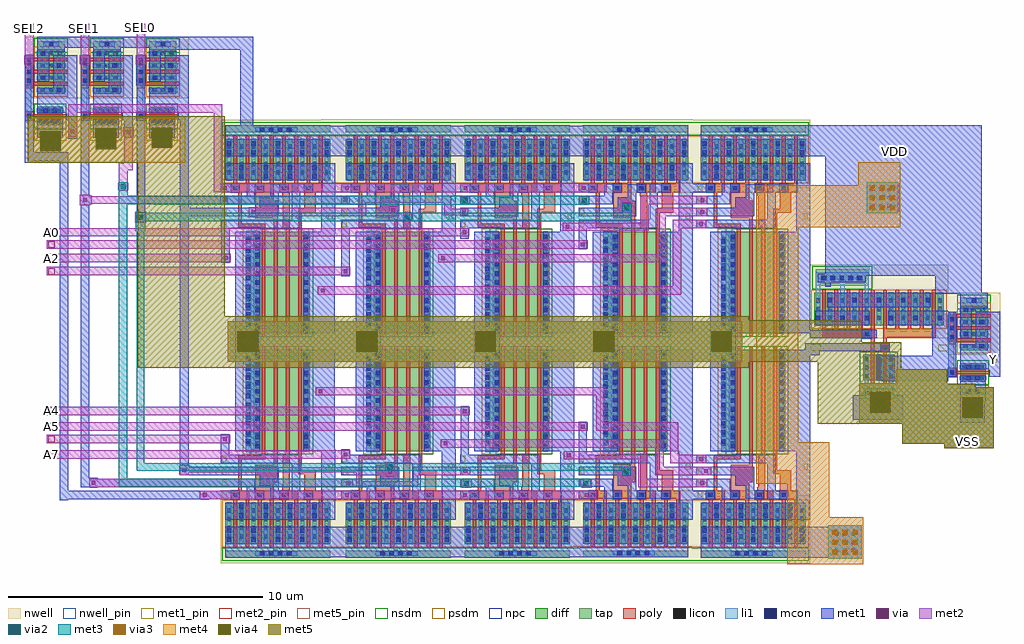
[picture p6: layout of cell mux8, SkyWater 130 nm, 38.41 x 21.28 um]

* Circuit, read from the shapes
.subckt mux8 A0 A1 A2 A3 A4 A5 A6 A7 SEL0 SEL1 SEL2 VDD VSS Y
XM1 NAND4F_0/D SEL2 VSS VSS sky130_fd_pr__nfet_01v8 w=1 l=0.15
XM2 NAND4F_4/C SEL1 VSS VSS sky130_fd_pr__nfet_01v8 w=1 l=0.15
XM3 NAND4F_1/B SEL0 VSS VSS sky130_fd_pr__nfet_01v8 w=1 l=0.15
XM4 n1 SEL2 VSS VSS sky130_fd_pr__nfet_01v8 w=4 l=0.15
XM5 n2 NAND4F_0/D VSS VSS sky130_fd_pr__nfet_01v8 w=4 l=0.15
XM6 n3 SEL1 n1 VSS sky130_fd_pr__nfet_01v8 w=4 l=0.15
XM7 n4 SEL1 n2 VSS sky130_fd_pr__nfet_01v8 w=4 l=0.15
XM8 n5 NAND4F_1/B n3 VSS sky130_fd_pr__nfet_01v8 w=4 l=0.15
XM9 n6 NAND4F_1/B n4 VSS sky130_fd_pr__nfet_01v8 w=4 l=0.15
XM10 NAND4F_9/A A6 n5 VSS sky130_fd_pr__nfet_01v8 w=4 l=0.15
XM11 NAND4F_8/A A2 n6 VSS sky130_fd_pr__nfet_01v8 w=4 l=0.15
XM12 n7 SEL2 VSS VSS sky130_fd_pr__nfet_01v8 w=4 l=0.15
XM13 n8 NAND4F_0/D VSS VSS sky130_fd_pr__nfet_01v8 w=4 l=0.15
XM14 n9 SEL1 n7 VSS sky130_fd_pr__nfet_01v8 w=4 l=0.15
XM15 n10 SEL1 n8 VSS sky130_fd_pr__nfet_01v8 w=4 l=0.15
XM16 n11 SEL0 n9 VSS sky130_fd_pr__nfet_01v8 w=4 l=0.15
XM17 n12 SEL0 n10 VSS sky130_fd_pr__nfet_01v8 w=4 l=0.15
XM18 NAND4F_9/B A7 n11 VSS sky130_fd_pr__nfet_01v8 w=4 l=0.15
XM19 NAND4F_8/B A3 n12 VSS sky130_fd_pr__nfet_01v8 w=4 l=0.15
XM20 n13 SEL2 VSS VSS sky130_fd_pr__nfet_01v8 w=4 l=0.15
XM21 n14 NAND4F_0/D VSS VSS sky130_fd_pr__nfet_01v8 w=4 l=0.15
XM22 n15 NAND4F_4/C n13 VSS sky130_fd_pr__nfet_01v8 w=4 l=0.15
XM23 n16 NAND4F_4/C n14 VSS sky130_fd_pr__nfet_01v8 w=4 l=0.15
XM24 n17 NAND4F_1/B n15 VSS sky130_fd_pr__nfet_01v8 w=4 l=0.15
XM25 n18 NAND4F_1/B n16 VSS sky130_fd_pr__nfet_01v8 w=4 l=0.15
XM26 NAND4F_9/C A4 n17 VSS sky130_fd_pr__nfet_01v8 w=4 l=0.15
XM27 NAND4F_8/C A0 n18 VSS sky130_fd_pr__nfet_01v8 w=4 l=0.15
XM28 n19 SEL2 VSS VSS sky130_fd_pr__nfet_01v8 w=4 l=0.15
XM29 n20 NAND4F_0/D VSS VSS sky130_fd_pr__nfet_01v8 w=4 l=0.15
XM30 n21 NAND4F_4/C n19 VSS sky130_fd_pr__nfet_01v8 w=4 l=0.15
XM31 n22 NAND4F_4/C n20 VSS sky130_fd_pr__nfet_01v8 w=4 l=0.15
XM32 n23 SEL0 n21 VSS sky130_fd_pr__nfet_01v8 w=4 l=0.15
XM33 n24 SEL0 n22 VSS sky130_fd_pr__nfet_01v8 w=4 l=0.15
XM34 NAND4F_9/D A5 n23 VSS sky130_fd_pr__nfet_01v8 w=4 l=0.15
XM35 NAND4F_8/D A1 n24 VSS sky130_fd_pr__nfet_01v8 w=4 l=0.15
XM36 n25 NAND4F_9/D VSS VSS sky130_fd_pr__nfet_01v8 w=4 l=0.15
XM37 n26 NAND4F_8/D VSS VSS sky130_fd_pr__nfet_01v8 w=4 l=0.15
XM38 n27 NAND4F_9/C n25 VSS sky130_fd_pr__nfet_01v8 w=4 l=0.15
XM39 n28 NAND4F_8/C n26 VSS sky130_fd_pr__nfet_01v8 w=4 l=0.15
XM40 n29 NAND4F_9/B n27 VSS sky130_fd_pr__nfet_01v8 w=4 l=0.15
XM41 n30 NAND4F_8/B n28 VSS sky130_fd_pr__nfet_01v8 w=4 l=0.15
XM42 nor2_11/B NAND4F_9/A n29 VSS sky130_fd_pr__nfet_01v8 w=4 l=0.15
XM43 nor2_11/A NAND4F_8/A n30 VSS sky130_fd_pr__nfet_01v8 w=4 l=0.15
XM44 inv_10/A nor2_11/A VSS VSS sky130_fd_pr__nfet_01v8 w=1 l=0.15
XM45 VSS nor2_11/B inv_10/A VSS sky130_fd_pr__nfet_01v8 w=1 l=0.15
XM46 Y inv_10/A VSS VSS sky130_fd_pr__nfet_01v8 w=1 l=0.15
XM47 VDD SEL2 NAND4F_0/D VDD sky130_fd_pr__pfet_01v8 w=1.07 l=0.15 m=3
XM48 VDD SEL1 NAND4F_4/C VDD sky130_fd_pr__pfet_01v8 w=1.07 l=0.15 m=3
XM49 VDD SEL0 NAND4F_1/B VDD sky130_fd_pr__pfet_01v8 w=1.07 l=0.15 m=3
XM50 NAND4F_9/A SEL2 VDD VDD sky130_fd_pr__pfet_01v8 w=1.61 l=0.15 m=2
XM51 NAND4F_8/A NAND4F_0/D VDD VDD sky130_fd_pr__pfet_01v8 w=1.61 l=0.15 m=2
XM52 NAND4F_9/A SEL1 VDD VDD sky130_fd_pr__pfet_01v8 w=1.61 l=0.15 m=2
XM53 NAND4F_8/A SEL1 VDD VDD sky130_fd_pr__pfet_01v8 w=1.61 l=0.15 m=2
XM54 NAND4F_9/A NAND4F_1/B VDD VDD sky130_fd_pr__pfet_01v8 w=1.61 l=0.15 m=2
XM55 NAND4F_8/A NAND4F_1/B VDD VDD sky130_fd_pr__pfet_01v8 w=1.61 l=0.15 m=2
XM56 NAND4F_9/A A6 VDD VDD sky130_fd_pr__pfet_01v8 w=1.61 l=0.15 m=2
XM57 NAND4F_8/A A2 VDD VDD sky130_fd_pr__pfet_01v8 w=1.61 l=0.15 m=2
XM58 NAND4F_9/B SEL2 VDD VDD sky130_fd_pr__pfet_01v8 w=1.61 l=0.15 m=2
XM59 NAND4F_8/B NAND4F_0/D VDD VDD sky130_fd_pr__pfet_01v8 w=1.61 l=0.15 m=2
XM60 NAND4F_9/B SEL1 VDD VDD sky130_fd_pr__pfet_01v8 w=1.61 l=0.15 m=2
XM61 NAND4F_8/B SEL1 VDD VDD sky130_fd_pr__pfet_01v8 w=1.61 l=0.15 m=2
XM62 NAND4F_9/B SEL0 VDD VDD sky130_fd_pr__pfet_01v8 w=1.61 l=0.15 m=2
XM63 NAND4F_8/B SEL0 VDD VDD sky130_fd_pr__pfet_01v8 w=1.61 l=0.15 m=2
XM64 NAND4F_9/B A7 VDD VDD sky130_fd_pr__pfet_01v8 w=1.61 l=0.15 m=2
XM65 NAND4F_8/B A3 VDD VDD sky130_fd_pr__pfet_01v8 w=1.61 l=0.15 m=2
XM66 NAND4F_9/C SEL2 VDD VDD sky130_fd_pr__pfet_01v8 w=1.61 l=0.15 m=2
XM67 NAND4F_8/C NAND4F_0/D VDD VDD sky130_fd_pr__pfet_01v8 w=1.61 l=0.15 m=2
XM68 NAND4F_9/C NAND4F_4/C VDD VDD sky130_fd_pr__pfet_01v8 w=1.61 l=0.15 m=2
XM69 NAND4F_8/C NAND4F_4/C VDD VDD sky130_fd_pr__pfet_01v8 w=1.61 l=0.15 m=2
XM70 NAND4F_9/C NAND4F_1/B VDD VDD sky130_fd_pr__pfet_01v8 w=1.61 l=0.15 m=2
XM71 NAND4F_8/C NAND4F_1/B VDD VDD sky130_fd_pr__pfet_01v8 w=1.61 l=0.15 m=2
XM72 NAND4F_9/C A4 VDD VDD sky130_fd_pr__pfet_01v8 w=1.61 l=0.15 m=2
XM73 NAND4F_8/C A0 VDD VDD sky130_fd_pr__pfet_01v8 w=1.61 l=0.15 m=2
XM74 NAND4F_9/D SEL2 VDD VDD sky130_fd_pr__pfet_01v8 w=1.61 l=0.15 m=2
XM75 NAND4F_8/D NAND4F_0/D VDD VDD sky130_fd_pr__pfet_01v8 w=1.61 l=0.15 m=2
XM76 NAND4F_9/D NAND4F_4/C VDD VDD sky130_fd_pr__pfet_01v8 w=1.61 l=0.15 m=2
XM77 NAND4F_8/D NAND4F_4/C VDD VDD sky130_fd_pr__pfet_01v8 w=1.61 l=0.15 m=2
XM78 NAND4F_9/D SEL0 VDD VDD sky130_fd_pr__pfet_01v8 w=1.61 l=0.15 m=2
XM79 NAND4F_8/D SEL0 VDD VDD sky130_fd_pr__pfet_01v8 w=1.61 l=0.15 m=2
XM80 NAND4F_9/D A5 VDD VDD sky130_fd_pr__pfet_01v8 w=1.61 l=0.15 m=2
XM81 NAND4F_8/D A1 VDD VDD sky130_fd_pr__pfet_01v8 w=1.61 l=0.15 m=2
XM82 nor2_11/B NAND4F_9/D VDD VDD sky130_fd_pr__pfet_01v8 w=1.61 l=0.15 m=2
XM83 nor2_11/A NAND4F_8/D VDD VDD sky130_fd_pr__pfet_01v8 w=1.61 l=0.15 m=2
XM84 nor2_11/B NAND4F_9/C VDD VDD sky130_fd_pr__pfet_01v8 w=1.61 l=0.15 m=2
XM85 nor2_11/A NAND4F_8/C VDD VDD sky130_fd_pr__pfet_01v8 w=1.61 l=0.15 m=2
XM86 nor2_11/B NAND4F_9/B VDD VDD sky130_fd_pr__pfet_01v8 w=1.61 l=0.15 m=2
XM87 nor2_11/A NAND4F_8/B VDD VDD sky130_fd_pr__pfet_01v8 w=1.61 l=0.15 m=2
XM88 nor2_11/B NAND4F_9/A VDD VDD sky130_fd_pr__pfet_01v8 w=1.61 l=0.15 m=2
XM89 nor2_11/A NAND4F_8/A VDD VDD sky130_fd_pr__pfet_01v8 w=1.61 l=0.15 m=2
XM90 n31 nor2_11/A VDD VDD sky130_fd_pr__pfet_01v8 w=1.28 l=0.15 m=5
XM91 inv_10/A nor2_11/B n31 VDD sky130_fd_pr__pfet_01v8 w=1.28 l=0.15 m=5
XM92 VDD inv_10/A Y VDD sky130_fd_pr__pfet_01v8 w=1.07 l=0.15 m=3
.ends

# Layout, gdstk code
from math import pi, radians
import gdstk
lib = gdstk.Library(unit=1e-6, precision=1e-09)
def R(c, l, rs):  # rectangles x0, y0, x1, y1
    for r in rs: c.add(gdstk.rectangle(r[:2], r[2:], *l))
def A(c, l, x, y, w, h, nx, ny, dx, dy):  # array of equal rectangles
    R(c, l, [(x+i*dx, y+j*dy, x+i*dx+w, y+j*dy+h) for i in range(nx) for j in range(ny)])
nwell_pin = (64, 16)
nwell = (64, 20)
diff = (65, 20)
tap = (65, 44)
poly = (66, 20)
licon = (66, 44)
li1 = (67, 20)
mcon = (67, 44)
met1_pin = (68, 16)
met1 = (68, 20)
via = (68, 44)
met2_pin = (69, 16)
met2 = (69, 20)
via2 = (69, 44)
met3 = (70, 20)
via3 = (70, 44)
met4 = (71, 20)
via4 = (71, 44)
met5_pin = (72, 16)
met5 = (72, 20)
nsdm = (93, 44)
psdm = (94, 20)
npc = (95, 20)

pmos4_f2 = lib.new_cell('pmos4_f2')
R(pmos4_f2, nwell, [(-2.245,-1.305,1.765,-1.115), (-2.245,-1.115,2.245,1.115)])
R(pmos4_f2, diff, [(-2.065,-0.805,2.065,0.805)])
A(pmos4_f2, poly, -1.845, -1.29, 0.72, 0.33, 4, 1, 0.96, 0)
A(pmos4_f2, poly, -1.755, -0.96, 0.15, 1.895, 8, 1, 0.48, 0)
A(pmos4_f2, licon, -1.765, -1.21, 0.17, 0.17, 4, 1, 0.96, 0)
A(pmos4_f2, licon, -2.005, -0.595, 0.17, 0.17, 9, 4, 0.48, 0.34)
A(pmos4_f2, li1, -1.845, -1.21, 0.33, 0.17, 4, 1, 0.96, 0)
A(pmos4_f2, li1, -2.005, -0.825, 0.17, 1.65, 5, 1, 0.96, 0)
A(pmos4_f2, li1, -1.525, -0.825, 0.17, 0.055, 4, 1, 0.96, 0)
A(pmos4_f2, li1, -0.565, -0.77, 0.175, 0.56, 3, 1, 0.96, 0)
A(pmos4_f2, li1, -1.525, -0.21, 0.17, 1.035, 4, 1, 0.96, 0)
R(pmos4_f2, li1, [(-1.53,-0.77,-1.355,-0.21)])
A(pmos4_f2, mcon, -1.765, -1.21, 0.17, 0.17, 4, 1, 0.96, 0)
A(pmos4_f2, mcon, -0.565, -0.755, 0.17, 0.17, 3, 2, 0.96, 0.36)
A(pmos4_f2, mcon, -2.005, 0.19, 0.17, 0.17, 5, 2, 0.96, 0.36)
R(pmos4_f2, mcon, [(-1.53,-0.755,-1.36,-0.585), (-1.53,-0.395,-1.36,-0.225)])
A(pmos4_f2, met1, -1.825, -1.24, 0.29, 0.23, 4, 1, 0.96, 0)
R(pmos4_f2, met1, [(-2.065,-0.805,2.065,-0.135), (-2.065,0.135,2.065,0.805)])
R(pmos4_f2, psdm, [(-2.19,-0.93,2.19,0.93)])
A(pmos4_f2, npc, -1.865, -1.31, 0.37, 0.37, 4, 1, 0.96, 0)

efenmos2 = lib.new_cell('efenmos2')
R(efenmos2, diff, [(-1.105,-2,1.105,2)])
A(efenmos2, poly, -0.795, -2.13, 0.15, 4.26, 4, 1, 0.48, 0)
A(efenmos2, licon, -1.045, -1.785, 0.17, 0.17, 1, 11, 0, 0.34)
A(efenmos2, licon, 0.875, -1.785, 0.17, 0.17, 1, 11, 0, 0.34)
R(efenmos2, li1, [(-1.045,-2.02,-0.875,2.02), (0.875,-2.02,1.045,2.02)])
A(efenmos2, mcon, -1.045, -1.885, 0.17, 0.17, 1, 11, 0, 0.36)
A(efenmos2, mcon, 0.875, -1.885, 0.17, 0.17, 1, 11, 0, 0.36)
R(efenmos2, met1, [(-1.075,-2,-0.845,2), (0.845,-2,1.075,2)])
R(efenmos2, nsdm, [(-1.23,-2.125,1.23,2.125)])

nand4f = lib.new_cell('NAND4F')
R(nand4f, nwell_pin, [(2.11,2.33,2.28,2.575)])
R(nand4f, nwell, [(0.225,2.07,4.36,2.22), (0.05,2.22,4.54,2.855)])
R(nand4f, tap, [(1.03,-5.555,1.34,-1.555), (0.23,2.36,4.355,2.445), (0.23,2.445,4.36,2.63)])
R(nand4f, poly, [(2.13,-1.555,2.28,-1.03), (2.61,-1.555,2.76,-1.44), (3.09,-1.555,3.24,-0.805), (2.49,-1.44,2.76,-0.13), (1.65,-1.435,1.8,-1.39), (0.73,-1.39,1.8,-1.24), (0.73,-1.24,0.88,0.21), (1.41,-1.03,2.28,-0.34), (3.09,-0.805,3.78,-0.655), (3.33,-0.655,3.78,-0.005), (1.41,-0.34,2.13,-0.005), (2.46,-0.13,2.76,-0.005), (1.41,-0.005,2.01,0.01), (2.61,-0.005,2.76,0.16), (3.63,-0.005,3.78,0.2), (1.7,0.01,1.85,0.21)])
A(nand4f, licon, 1.03, -5.32, 0.17, 0.17, 1, 5, 0, 0.34)
A(nand4f, licon, 1.03, -3.31, 0.17, 0.17, 1, 5, 0, 0.34)
A(nand4f, licon, 1.61, 2.375, 0.17, 0.17, 4, 1, 0.34, 0)
R(nand4f, li1, [(1.03,-5.575,1.555,-1.52), (1.405,2.375,3.055,2.55)])
A(nand4f, mcon, 1.03, -5.26, 0.17, 0.17, 1, 10, 0, 0.36)
A(nand4f, mcon, 1.58, 2.375, 0.17, 0.17, 4, 1, 0.36, 0)
R(nand4f, met1_pin, [(0.795,-5.475,0.965,-5.23), (0.085,-1.385,0.255,-1.14), (4.275,-1.07,4.445,-0.825), (0.1,-0.885,0.27,-0.64), (0.105,-0.445,0.275,-0.2), (0.11,0.02,0.28,0.265)])
R(nand4f, met1, [(0.61,-5.875,1.605,-1.555), (3.29,-5.555,4.54,-1.63), (3.29,-1.63,4.545,-1.555), (3.995,-1.555,4.545,0.545), (0.05,-1.415,3.175,-1.085), (2.845,-1.085,3.175,-0.005), (0.05,-0.945,2.325,-0.615), (1.585,-0.615,2.325,-0.19), (0.05,-0.475,1.39,-0.145), (1.995,-0.19,2.325,-0.01), (1.06,-0.145,1.39,-0.005), (2.51,-0.015,2.68,-0.01), (1.995,-0.01,2.7,0.32), (0.05,-0.005,0.78,0.325), (1.06,-0.005,1.745,0.325), (2.845,-0.005,3.665,0.325), (4.045,0.545,4.545,1.15), (0.225,2.07,4.36,2.63)])
R(nand4f, nsdm, [(0.105,2.235,4.48,2.32), (0.105,2.32,4.485,2.755)])
R(nand4f, psdm, [(0.905,-5.68,1.465,-1.43)])
nand4f.add(gdstk.Reference(pmos4_f2, (2.295,1.285)))
nand4f.add(gdstk.Reference(efenmos2, (2.445,-3.555)))
nand4f.add(gdstk.Label('A', (0.17,-1.262), layer=68, texttype=16))
nand4f.add(gdstk.Label('B', (0.185,-0.762), layer=68, texttype=16))
nand4f.add(gdstk.Label('C', (0.19,-0.322), layer=68, texttype=16))
nand4f.add(gdstk.Label('D', (0.195,0.142), layer=68, texttype=16))
nand4f.add(gdstk.Label('VSS', (0.88,-5.352), layer=68, texttype=16))
nand4f.add(gdstk.Label('VDD', (2.195,2.452), layer=64, texttype=16))
nand4f.add(gdstk.Label('Y', (4.36,-0.947), layer=68, texttype=16))

sky130_fd_pr__nfet_01v8_ = lib.new_cell('sky130_fd_pr__nfet_01v8_6H9P4D')
R(sky130_fd_pr__nfet_01v8_, diff, [(-0.365,-0.5,0.365,0.5)])
R(sky130_fd_pr__nfet_01v8_, poly, [(-0.075,-0.63,0.075,0.63)])
A(sky130_fd_pr__nfet_01v8_, licon, -0.305, -0.425, 0.17, 0.17, 1, 3, 0, 0.34)
A(sky130_fd_pr__nfet_01v8_, licon, 0.135, -0.425, 0.17, 0.17, 1, 3, 0, 0.34)
R(sky130_fd_pr__nfet_01v8_, li1, [(-0.305,-0.52,-0.135,0.52), (0.135,-0.52,0.305,0.52)])
R(sky130_fd_pr__nfet_01v8_, mcon, [(-0.305,-0.265,-0.135,-0.095), (0.135,-0.265,0.305,-0.095), (-0.305,0.095,-0.135,0.265), (0.135,0.095,0.305,0.265)])
R(sky130_fd_pr__nfet_01v8_, met1, [(-0.335,-0.5,-0.105,0.5), (0.105,-0.5,0.335,0.5)])
R(sky130_fd_pr__nfet_01v8_, nsdm, [(-0.49,-0.625,0.49,0.625)])

efepmos_w107_l15_f3 = lib.new_cell('efepmos_W107-L15-F3')
R(efepmos_w107_l15_f3, nwell, [(-1.045,-1.035,1.045,0.845)])
R(efepmos_w107_l15_f3, diff, [(-0.865,-0.535,0.865,0.535)])
A(efepmos_w107_l15_f3, poly, -0.555, -0.69, 0.15, 1.355, 3, 1, 0.48, 0)
R(efepmos_w107_l15_f3, poly, [(-0.645,-1.02,0.645,-0.69)])
A(efepmos_w107_l15_f3, licon, -0.425, -0.94, 0.17, 0.17, 3, 1, 0.34, 0)
A(efepmos_w107_l15_f3, licon, -0.805, -0.425, 0.17, 0.17, 1, 3, 0, 0.34)
A(efepmos_w107_l15_f3, licon, 0.155, -0.425, 0.17, 0.17, 1, 3, 0, 0.34)
A(efepmos_w107_l15_f3, licon, -0.325, -0.415, 0.17, 0.17, 1, 3, 0, 0.34)
A(efepmos_w107_l15_f3, licon, 0.635, -0.415, 0.17, 0.17, 1, 3, 0, 0.34)
R(efepmos_w107_l15_f3, li1, [(-0.645,-0.94,0.645,-0.77), (-0.805,-0.555,-0.635,0.555), (-0.325,-0.555,-0.155,0.585), (0.155,-0.555,0.325,0.555), (0.635,-0.555,0.805,0.585)])
A(efepmos_w107_l15_f3, mcon, -0.445, -0.94, 0.17, 0.17, 3, 1, 0.36, 0)
R(efepmos_w107_l15_f3, mcon, [(-0.805,-0.395,-0.635,-0.225), (0.155,-0.395,0.325,-0.225), (-0.325,0.215,-0.155,0.385), (0.635,0.215,0.805,0.385)])
R(efepmos_w107_l15_f3, met1, [(-0.645,-1.02,0.645,-0.69), (-1.045,-0.535,0.405,-0.08), (-0.405,0.08,1.045,0.535)])
R(efepmos_w107_l15_f3, psdm, [(-0.99,-0.66,0.99,0.66)])
R(efepmos_w107_l15_f3, npc, [(-0.525,-1.04,0.525,-0.67)])

inv = lib.new_cell('inv')
R(inv, nwell, [(1.88,0,2.06,1.83), (1.63,1.44,1.715,1.45), (1.115,1.45,1.715,1.69), (0.505,1.735,0.52,1.83), (0,1.83,2.06,2.43)])
R(inv, tap, [(0.5,-1.555,1.5,-1.34), (0.5,1.91,1.57,2.24)])
R(inv, poly, [(0.015,-0.87,0.35,-0.78), (0.015,-0.78,0.375,-0.63), (0.015,-0.63,0.35,-0.54)])
R(inv, licon, [(0.73,-1.52,0.9,-1.35), (1.07,-1.52,1.24,-1.35), (0.095,-0.79,0.265,-0.62), (0.955,2.04,1.125,2.21)])
R(inv, li1, [(0.575,-1.52,1.395,-1.35), (0.015,-0.87,0.265,1.695), (0.735,2.04,1.35,2.21)])
R(inv, mcon, [(0.72,-1.52,0.89,-1.35), (1.08,-1.52,1.25,-1.35), (0.095,-0.79,0.265,-0.62), (0.955,2.04,1.125,2.21)])
R(inv, met1, [(0.5,-1.555,1.5,-0.805), (0,-0.875,0.345,0.4), (1.64,-0.875,2.06,-0.57), (0.5,-0.57,2.06,0.41), (0,0.4,0.265,1.69), (1.115,0.41,2.06,1.69), (0.505,1.735,0.52,1.83), (0.5,1.83,1.57,2.43)])
R(inv, nsdm, [(0.375,1.785,1.695,2.365)])
R(inv, psdm, [(0.375,-1.68,1.625,-1.215)])
R(inv, npc, [(-0.005,-0.89,0.365,-0.52)])
inv.add(gdstk.Reference(sky130_fd_pr__nfet_01v8_, (1,-0.705), rotation=3*pi/2))
inv.add(gdstk.Reference(efepmos_w107_l15_f3, (1.035,1.045), rotation=3*pi/2))
inv.add(gdstk.Label('A', (0,0.39), layer=68, texttype=16))
inv.add(gdstk.Label('VSS', (0.99,-1.555), layer=68, texttype=16))
inv.add(gdstk.Label('VDD', (1.05,2.43), layer=68, texttype=16))
inv.add(gdstk.Label('Y', (2.06,0.39), layer=68, texttype=16))

sky130_fd_pr__pfet_01v8_ = lib.new_cell('sky130_fd_pr__pfet_01v8_UFBY79')
R(sky130_fd_pr__pfet_01v8_, nwell, [(-2.725,-1.14,2.725,1.14)])
R(sky130_fd_pr__pfet_01v8_, diff, [(-2.545,-0.64,2.545,0.64)])
A(sky130_fd_pr__pfet_01v8_, poly, -2.235, -0.77, 0.15, 1.54, 10, 1, 0.48, 0)
R(sky130_fd_pr__pfet_01v8_, poly, [(-2.235,-1.125,-0.165,-0.77), (0.165,-1.125,2.235,-0.77)])
A(sky130_fd_pr__pfet_01v8_, licon, -2.485, -0.425, 0.17, 0.17, 11, 3, 0.48, 0.34)
A(sky130_fd_pr__pfet_01v8_, li1, -2.485, -0.66, 0.17, 1.32, 11, 1, 0.48, 0)
A(sky130_fd_pr__pfet_01v8_, mcon, -2.485, -0.44, 0.17, 0.17, 6, 1, 0.96, 0)
A(sky130_fd_pr__pfet_01v8_, mcon, -2.005, 0.27, 0.17, 0.17, 5, 1, 0.96, 0)
A(sky130_fd_pr__pfet_01v8_, met1, -2.515, -0.64, 0.23, 0.57, 6, 1, 0.96, 0)
A(sky130_fd_pr__pfet_01v8_, met1, -2.035, 0.07, 0.23, 0.57, 5, 1, 0.96, 0)
R(sky130_fd_pr__pfet_01v8_, psdm, [(-2.67,-0.765,2.67,0.765)])

c_sky130_fd_pr__nfet_01v8_ = lib.new_cell('sky130_fd_pr__nfet_01v8_LZEQWH')
R(c_sky130_fd_pr__nfet_01v8_, diff, [(-0.625,-0.5,0.625,0.5)])
R(c_sky130_fd_pr__nfet_01v8_, poly, [(-0.315,-0.63,-0.165,0.63), (0.165,-0.63,0.315,0.63)])
A(c_sky130_fd_pr__nfet_01v8_, licon, -0.565, -0.425, 0.17, 0.17, 3, 3, 0.48, 0.34)
A(c_sky130_fd_pr__nfet_01v8_, li1, -0.565, -0.52, 0.17, 1.04, 3, 1, 0.48, 0)
R(c_sky130_fd_pr__nfet_01v8_, mcon, [(-0.085,-0.265,0.085,-0.095), (-0.085,0.095,0.085,0.265)])
R(c_sky130_fd_pr__nfet_01v8_, met1, [(-0.115,-0.5,0.115,0.5)])
R(c_sky130_fd_pr__nfet_01v8_, nsdm, [(-0.75,-0.625,0.75,0.625)])

nor2 = lib.new_cell('nor2')
R(nor2, nwell, [(0.21,1.75,2.43,1.98), (0.005,1.98,5.45,2.295), (0,2.295,5.45,2.9)])
R(nor2, tap, [(2.1,-2.4,3.35,-1.92), (0.23,2.065,2.33,2.72)])
R(nor2, poly, [(2.41,-0.57,2.56,0.03), (2.89,-0.565,3.04,-0.51), (2.8,-0.51,3.13,-0.18), (2.89,-0.18,3.04,0.03), (2.085,0.095,2.415,0.265)])
A(nor2, licon, 2.3, -2.245, 0.17, 0.17, 3, 1, 0.34, 0)
A(nor2, licon, 0.495, 2.295, 0.17, 0.17, 5, 1, 0.34, 0)
R(nor2, licon, [(2.88,-0.43,3.05,-0.26), (2.165,0.095,2.335,0.265)])
A(nor2, li1, 0.24, 1.815, 0.17, 0.345, 3, 1, 0.96, 0)
R(nor2, li1, [(2.1,-2.37,3.35,-1.95), (2.16,-1.95,2.33,-1.67), (3.12,-1.95,3.29,-1.67), (2.8,-0.43,3.13,-0.26), (2.085,0.095,2.415,0.265), (0.23,2.16,2.33,2.61)])
A(nor2, mcon, 2.28, -2.245, 0.17, 0.17, 3, 1, 0.36, 0)
A(nor2, mcon, 0.455, 2.295, 0.17, 0.17, 5, 1, 0.36, 0)
R(nor2, mcon, [(2.88,-0.43,3.05,-0.26), (2.165,0.095,2.335,0.265)])
R(nor2, met1_pin, [(5.06,-0.51,5.445,-0.25), (0.04,-0.48,0.425,-0.22), (0.035,0.05,0.42,0.31)])
R(nor2, met1, [(2.17,-2.34,3.285,-1.97), (2.84,-1.68,5.185,-1.675), (2.84,-1.675,5.44,-1.67), (2.84,-1.67,5.45,-0.68), (4.825,-0.68,5.45,0.515), (0,-0.51,3.13,-0.18), (0,0.015,2.63,0.345), (0.44,0.515,2.13,1.085), (3.32,0.515,5.45,1.085), (0.92,1.225,2.61,1.795), (2.84,1.225,3.57,1.795), (3.8,1.225,4.53,1.795), (0.31,2.22,2.215,2.55)])
R(nor2, nsdm, [(0.105,1.94,2.455,2.845)])
R(nor2, psdm, [(1.975,-2.525,3.475,-1.795)])
R(nor2, npc, [(2.78,-0.53,3.15,-0.16), (2.065,-0.005,2.435,0.365)])
nor2.add(gdstk.Reference(sky130_fd_pr__pfet_01v8_, (2.725,1.155)))
nor2.add(gdstk.Reference(c_sky130_fd_pr__nfet_01v8_, (2.725,-1.15), rotation=pi))
nor2.add(gdstk.Label('A', (0.227,0.18), layer=68, texttype=16))
nor2.add(gdstk.Label('B', (0.232,-0.35), layer=68, texttype=16))
nor2.add(gdstk.Label('VSS', (2.745,-2.34), layer=68, texttype=16))
nor2.add(gdstk.Label('VDD', (1.265,2.55), layer=68, texttype=16))
nor2.add(gdstk.Label('Y', (5.252,-0.38), layer=68, texttype=16))

mux8 = lib.new_cell('mux8')
R(mux8, nwell, [(-1.49,-4.52,17.31,-1.645), (-1.49,-1.645,17.08,-1.64), (2.465,10.065,17.35,12.945), (2.465,12.945,17.08,12.95), (-9.215,13.785,-2.75,16.215)])
R(mux8, met1_pin, [(28.795,3.365,29.055,3.625), (24.885,11.565,25.145,11.825)])
A(mux8, met1, -9.21, 15.1, 0.345, 0.405, 3, 1, 2.2, 0)
R(mux8, met1, [(22.415,-4.35,23.735,-4.295), (21.29,-4.295,23.735,-3.085), (-1.315,-4.285,16.895,-3.08), (22.415,-3.085,23.735,-3.03), (-7.84,-2.04,-7.495,-1.99), (-7.84,-1.99,-1.145,-1.66), (16.865,-1.99,17.55,-1.66), (3.315,-1.965,3.64,-1.705), (7.96,-1.965,8.285,-1.705), (12.755,-1.965,13.08,-1.705), (-7.84,-1.66,-7.495,11.305), (-7.005,-1.52,-1.16,-1.51), (8.005,-1.52,8.335,-1.19), (17.295,-1.52,17.625,-1.19), (12.685,-1.515,13.015,-1.185), (-7.01,-1.51,-1.16,-1.19), (3.395,-1.495,3.655,-1.235), (-7.01,-1.19,-6.665,9.58), (5.005,-1.075,5.325,-0.755), (14.32,-1.055,14.62,-0.755), (-3.1,-1.05,-1.16,-1.02), (7.965,-1.05,8.295,-0.72), (17.41,-1.05,17.795,-0.72), (-3.13,-1.02,-1.16,-0.72), (-3.13,-0.72,-2.725,-0.675), (-3.1,-0.675,-2.755,9.14), (-1.49,-0.58,-1.16,0.565), (3.25,-0.58,3.58,-0.04), (7.945,-0.58,8.275,1.665), (17.25,-0.58,17.58,-0.25), (12.585,-0.575,12.915,1.055), (12.035,-0.455,12.365,-0.065), (7.185,0.005,7.515,0.395), (27.615,1.01,28.565,1.785), (23.37,1.135,25.365,2.085), (27.605,1.785,28.605,2.175), (2.265,2.055,2.595,2.445), (24.165,2.085,24.76,2.105), (28.765,3.295,29.115,3.71), (21.515,3.665,22.075,4.15), (-0.895,3.765,0.055,4.655), (3.81,3.765,4.7,4.655), (8.49,3.765,9.38,4.655), (17.78,3.765,18.67,4.655), (13.145,3.77,14.03,4.655), (28.16,5.905,28.38,6.09), (2.36,6.02,2.69,6.41), (26.63,6.09,28.46,6.795), (22.3,6.36,22.515,6.795), (3.25,6.785,3.58,9), (22.3,6.795,28.46,11.505), (7.09,7.29,7.42,7.68), (-1.47,7.305,-1.14,9), (12.585,7.835,12.915,9), (7.93,8.255,8.26,9), (11.99,8.53,12.32,8.92), (17.25,8.67,17.575,9), (-4.81,8.905,-4.465,12.935), (-3.1,9.14,-1.155,9.47), (-0.395,9.14,-0.005,9.47), (17.29,9.14,17.62,9.47), (7.945,9.145,8.21,9.47), (5.09,9.245,5.495,9.59), (14.31,9.315,14.655,9.66), (-3.1,9.47,-2.755,12.53), (-7.04,9.58,-6.635,9.61), (-7.04,9.61,-6.575,9.94), (-1.515,9.61,-1.16,9.94), (17.3,9.61,17.63,9.94), (3.525,9.635,3.575,9.66), (8,9.635,8.26,9.895), (12.675,9.635,12.935,9.895), (3.285,9.66,3.575,9.92), (3.525,9.92,3.575,9.93), (-7.04,9.94,-6.635,9.985), (-7.01,9.985,-6.665,13.755), (16.845,10.08,17.55,10.41), (-1.47,10.095,-1.21,10.415), (3.345,10.12,3.61,10.38), (8.01,10.125,8.275,10.385), (12.665,10.125,12.93,10.385), (-9.205,11.245,-8.86,11.305), (-9.205,11.305,-7.495,11.65), (-1.31,11.505,16.9,12.71), (21.47,11.505,28.46,12.715), (-9.205,11.65,-8.86,12.23), (-8.485,11.805,-7.885,12.37), (-4.1,11.885,-3.5,12.45), (-6.285,11.93,-5.685,12.495), (-7.495,12.2,-7.15,13.755), (-9.21,12.23,-8.86,12.525), (-5.295,12.23,-4.95,12.95), (-8.33,12.37,-8.075,12.465), (-3.94,12.45,-3.685,12.605), (-6.14,12.495,-5.885,12.56), (-9.205,12.525,-8.86,13.755), (-3.1,12.53,-2.75,12.685), (-3.095,12.685,-2.75,12.985), (-0.73,12.71,-0.215,15.7), (22.3,12.715,25.045,12.72), (26.75,12.715,28.46,12.72), (-3.345,15.7,-0.215,16.215), (-8.7,15.765,-3.595,16.215)])
A(mux8, via, 22.68, -4.085, 0.15, 0.15, 3, 3, 0.32, 0.32)
A(mux8, via, 24.1, 9.48, 0.15, 0.15, 3, 3, 0.32, 0.32)
A(mux8, via, -9.115, 15.225, 0.15, 0.15, 3, 1, 2.2, 0)
R(mux8, via, [(3.4,-1.91,3.55,-1.76), (8.045,-1.91,8.195,-1.76), (12.84,-1.91,12.99,-1.76), (-2.205,-1.9,-2.055,-1.75), (3.45,-1.44,3.6,-1.29), (-6.58,-1.43,-6.43,-1.28), (8.095,-1.43,8.245,-1.28), (17.385,-1.43,17.535,-1.28), (12.775,-1.425,12.925,-1.275), (5.09,-0.99,5.24,-0.84), (14.395,-0.98,14.545,-0.83), (8.055,-0.96,8.205,-0.81), (17.53,-0.96,17.68,-0.81), (-3.005,-0.925,-2.855,-0.775), (17.34,-0.49,17.49,-0.34), (12.125,-0.34,12.275,-0.19), (3.34,-0.31,3.49,-0.16), (7.275,0.125,7.425,0.275), (-1.4,0.295,-1.25,0.445), (12.675,0.785,12.825,0.935), (27.86,1.36,28.01,1.51), (28.18,1.36,28.33,1.51), (8.035,1.395,8.185,1.545), (24.225,1.565,24.375,1.715), (24.545,1.565,24.695,1.715), (27.86,1.68,28.01,1.83), (28.18,1.68,28.33,1.83), (24.225,1.885,24.375,2.035), (24.545,1.885,24.695,2.035), (2.355,2.175,2.505,2.325), (-0.655,3.975,-0.505,4.125), (-0.335,3.975,-0.185,4.125), (4.02,3.975,4.17,4.125), (4.34,3.975,4.49,4.125), (8.7,3.975,8.85,4.125), (9.02,3.975,9.17,4.125), (13.35,3.975,13.5,4.125), (13.67,3.975,13.82,4.125), (17.99,3.975,18.14,4.125), (18.31,3.975,18.46,4.125), (-0.655,4.295,-0.505,4.445), (-0.335,4.295,-0.185,4.445), (4.02,4.295,4.17,4.445), (4.34,4.295,4.49,4.445), (8.7,4.295,8.85,4.445), (9.02,4.295,9.17,4.445), (13.35,4.295,13.5,4.445), (13.67,4.295,13.82,4.445), (17.99,4.295,18.14,4.445), (18.31,4.295,18.46,4.445), (2.45,6.14,2.6,6.29), (3.34,6.905,3.49,7.055), (7.18,7.41,7.33,7.56), (-1.38,7.425,-1.23,7.575), (12.675,7.955,12.825,8.105), (8.02,8.435,8.17,8.585), (12.08,8.65,12.23,8.8), (17.335,8.76,17.485,8.91), (-4.715,9.03,-4.565,9.18), (-0.275,9.23,-0.125,9.38), (8,9.23,8.15,9.38), (17.38,9.23,17.53,9.38), (5.215,9.3,5.365,9.45), (14.405,9.41,14.555,9.56), (8.055,9.69,8.205,9.84), (12.73,9.69,12.88,9.84), (17.39,9.7,17.54,9.85), (-6.915,9.705,-6.765,9.855), (-1.38,9.71,-1.23,9.86), (3.34,9.715,3.49,9.865), (3.4,10.175,3.55,10.325), (-1.415,10.18,-1.265,10.33), (8.065,10.18,8.215,10.33), (12.72,10.18,12.87,10.33), (-8.275,12.015,-8.125,12.165), (-6.085,12.11,-5.935,12.26), (-3.885,12.155,-3.735,12.305), (-5.2,12.39,-5.05,12.54), (-7.4,12.4,-7.25,12.55)])
R(mux8, met2_pin, [(-8.305,-0.36,-8.045,-0.1), (-8.285,0.245,-8.025,0.505), (-8.27,0.725,-8.01,0.985), (-8.28,1.345,-8.02,1.605), (-8.295,6.835,-8.035,7.095), (-8.27,7.365,-8.01,7.625), (-8.285,7.895,-8.025,8.155), (-8.3,8.37,-8.04,8.63), (-9.155,16.44,-8.93,16.635), (-6.965,16.44,-6.74,16.635), (-4.76,16.485,-4.535,16.68)])
A(mux8, met2, -9.24, 15.13, 0.405, 0.345, 3, 1, 2.2, 0)
A(mux8, met2, -9.21, 15.475, 0.345, 1.245, 3, 1, 2.2, 0)
R(mux8, met2, [(22.415,-4.35,23.735,-3.03), (-2.295,-2.02,-1.965,-1.99), (-2.33,-1.99,13.31,-1.66), (-6.67,-1.55,-6.34,-1.52), (-6.67,-1.52,3.695,-1.19), (7.96,-1.52,8.38,-1.19), (14.935,-1.52,17.655,-1.19), (12.655,-1.515,13.06,-1.185), (3.835,-1.48,6.275,-1.285), (3.835,-1.285,4.03,-0.94), (6.08,-1.285,6.275,-1.05), (-6.67,-1.19,-6.34,-1.16), (14.935,-1.19,15.265,-0.425), (5.005,-1.105,5.325,-0.9), (14.32,-1.085,14.62,-1.045), (-3.1,-1.05,-2.755,-0.94), (6.075,-1.05,8.325,-0.72), (15.61,-1.05,17.815,-0.72), (14.285,-1.045,14.655,-0.765), (-3.1,-0.94,4.03,-0.745), (4.98,-0.9,5.35,-0.55), (14.32,-0.765,14.62,-0.725), (-3.1,-0.745,-2.755,-0.645), (15.61,-0.72,15.94,0.035), (16.19,-0.58,17.61,-0.25), (12.005,-0.425,15.265,-0.105), (-8.34,-0.4,3.61,-0.07), (16.19,-0.25,16.52,0.695), (26.98,0.015,28.93,0.18), (7.155,0.035,15.94,0.365), (25.335,0.18,28.93,0.975), (-8.34,0.205,-1.13,0.535), (-8.34,0.695,12.945,1.025), (13.275,0.695,16.52,1.025), (23.64,0.975,28.93,2.41), (13.275,1.025,13.605,2.085), (-8.34,1.305,8.305,1.635), (2.235,2.085,13.605,2.415), (23.64,2.41,28.21,2.54), (23.64,2.54,27.105,2.56), (25.07,2.56,27.105,3.12), (-1.22,3.41,19.035,5.015), (2.33,6.05,16.625,6.38), (16.295,6.38,16.625,8.67), (-8.34,6.815,3.61,7.145), (7.06,7.32,16.01,7.65), (-8.34,7.335,-1.11,7.665), (15.68,7.65,16.01,9.14), (-8.34,7.865,12.945,8.195), (-8.34,8.345,8.29,8.675), (11.96,8.56,15.355,8.89), (16.295,8.67,17.605,9), (-4.855,8.89,-4.42,9.325), (15.025,8.89,15.355,9.61), (5.705,8.915,6,8.935), (5.12,8.935,6.025,9.28), (-0.395,9.11,-0.035,9.14), (-0.395,9.14,4.24,9.47), (15.68,9.14,17.65,9.47), (7.305,9.175,8.24,9.44), (23.935,9.26,25.155,9.315), (5.12,9.28,5.465,9.535), (5.705,9.28,6,9.3), (14.28,9.28,14.68,9.69), (23.935,9.315,25.205,10.425), (7.305,9.44,7.57,9.68), (-0.395,9.47,-0.035,9.495), (3.91,9.47,4.24,9.68), (-7.04,9.58,-6.635,9.635), (12.645,9.605,12.965,9.635), (15.025,9.61,17.66,9.94), (7.945,9.625,8.315,9.905), (-7.04,9.635,3.575,9.93), (12.615,9.635,13,9.915), (3.91,9.68,7.57,9.945), (12.645,9.915,13,9.925), (-7.04,9.93,-6.635,9.985), (-1.78,10.085,13.7,10.43), (-5.505,10.14,-5.165,10.165), (-5.525,10.165,-5.145,10.455), (23.935,10.425,25.155,10.48), (-1.78,10.43,-1.435,13.205), (-5.505,10.455,-5.165,10.95), (-5.505,10.95,-4.95,11.245), (-5.295,11.245,-4.95,12.295), (-8.485,11.805,-7.885,12.37), (-4.1,11.885,-3.5,12.45), (-6.21,11.97,-5.82,12.375), (-7.495,12.275,-7.15,13.205), (-5.325,12.295,-4.92,12.64), (-7.495,13.205,-1.435,13.55)])
A(mux8, via2, 22.575, -4.19, 0.2, 0.2, 3, 3, 0.4, 0.4)
A(mux8, via2, 24.045, 9.37, 0.2, 0.2, 3, 3, 0.4, 0.4)
R(mux8, via2, [(8.07,-1.465,8.27,-1.265), (12.775,-1.465,12.975,-1.265), (14.37,-1.005,14.57,-0.805), (5.065,-0.82,5.265,-0.62), (27.995,1.495,28.195,1.695), (24.36,1.7,24.56,1.9), (-0.72,3.91,-0.52,4.11), (-0.32,3.91,-0.12,4.11), (3.955,3.91,4.155,4.11), (4.355,3.91,4.555,4.11), (8.635,3.91,8.835,4.11), (9.035,3.91,9.235,4.11), (13.285,3.91,13.485,4.11), (13.685,3.91,13.885,4.11), (17.925,3.91,18.125,4.11), (18.325,3.91,18.525,4.11), (-0.72,4.31,-0.52,4.51), (-0.32,4.31,-0.12,4.51), (3.955,4.31,4.155,4.51), (4.355,4.31,4.555,4.51), (8.635,4.31,8.835,4.51), (9.035,4.31,9.235,4.51), (13.285,4.31,13.485,4.51), (13.685,4.31,13.885,4.51), (17.925,4.31,18.125,4.51), (18.325,4.31,18.525,4.51), (-4.74,9.005,-4.54,9.205), (5.75,9.005,5.95,9.205), (14.38,9.385,14.58,9.585), (8.03,9.665,8.23,9.865), (12.715,9.675,12.915,9.875), (-5.435,10.21,-5.235,10.41), (-8.3,11.99,-8.1,12.19), (-6.11,12.085,-5.91,12.285), (-3.91,12.13,-3.71,12.33)])
R(mux8, met3, [(22.415,-4.35,23.735,-3.03), (7.98,-1.545,8.36,-1.515), (12.71,-1.54,13.105,-1.515), (-5.505,-1.515,13.105,-1.185), (-5.505,-1.185,-5.175,9.61), (14.305,-1.07,14.635,-0.885), (-4.8,-0.885,14.635,-0.74), (-4.8,-0.74,14.62,-0.585), (-4.8,-0.585,-4.5,8.545), (4.99,-0.585,5.355,-0.555), (26.98,0.015,28.93,0.18), (25.335,0.18,28.93,0.975), (23.64,0.975,28.93,2.41), (23.64,2.41,28.21,2.54), (23.64,2.54,27.105,2.56), (25.07,2.56,27.105,3.12), (-1.22,3.41,19.035,5.015), (-4.835,8.545,-4.465,8.91), (-4.835,8.91,-4.44,8.935), (-4.835,8.935,14.655,9.28), (23.935,9.26,25.155,10.48), (-4.835,9.28,-4.44,9.305), (14.31,9.28,14.655,9.66), (-4.135,9.6,13.01,9.61), (-5.505,9.61,13.01,9.95), (-5.505,9.95,-5.165,10.48), (-8.465,11.81,-7.865,12.375), (-6.28,11.915,-5.68,12.48), (-4.105,11.92,-3.505,12.485)])
A(mux8, via3, 22.575, -4.19, 0.2, 0.2, 3, 3, 0.4, 0.4)
A(mux8, via3, 24.045, 9.37, 0.2, 0.2, 3, 3, 0.4, 0.4)
R(mux8, via3, [(27.995,1.495,28.195,1.695), (24.36,1.7,24.56,1.9), (-0.72,3.91,-0.52,4.11), (-0.32,3.91,-0.12,4.11), (3.955,3.91,4.155,4.11), (4.355,3.91,4.555,4.11), (8.635,3.91,8.835,4.11), (9.035,3.91,9.235,4.11), (13.285,3.91,13.485,4.11), (13.685,3.91,13.885,4.11), (17.925,3.91,18.125,4.11), (18.325,3.91,18.525,4.11), (-0.72,4.31,-0.52,4.51), (-0.32,4.31,-0.12,4.51), (3.955,4.31,4.155,4.51), (4.355,4.31,4.555,4.51), (8.635,4.31,8.835,4.51), (9.035,4.31,9.235,4.51), (13.285,4.31,13.485,4.51), (13.685,4.31,13.885,4.51), (17.925,4.31,18.125,4.51), (18.325,4.31,18.525,4.51), (-8.3,11.99,-8.1,12.19), (-6.11,12.085,-5.91,12.285), (-3.91,12.13,-3.71,12.33)])
R(mux8, met4, [(20.8,-4.56,23.795,-2.715), (20.8,-2.715,22.445,-1.395), (19.585,-1.395,22.445,0.25), (26.98,0.015,28.93,0.18), (25.335,0.18,28.93,0.975), (19.585,0.25,21.23,8.715), (23.64,0.975,28.93,2.41), (23.64,2.41,28.21,2.54), (23.64,2.54,27.105,2.56), (25.07,2.56,27.105,3.12), (-1.22,3.41,19.035,5.015), (19.585,8.715,25.25,10.36), (23.605,10.36,25.25,11.26), (-9.095,11.24,-2.885,13.075)])
R(mux8, via4, [(27.7,1.2,28.5,2), (24.065,1.405,24.865,2.205), (-0.82,3.81,-0.02,4.61), (3.855,3.81,4.655,4.61), (8.535,3.81,9.335,4.61), (17.825,3.81,18.625,4.61), (13.19,3.815,13.99,4.615), (-8.6,11.69,-7.8,12.49), (-6.41,11.785,-5.61,12.585), (-4.21,11.83,-3.41,12.63)])
R(mux8, met5_pin, [(27.775,0.13,28.035,0.39)])
R(mux8, met5, [(26.98,0.015,28.93,0.18), (25.335,0.18,28.93,0.975), (22.01,0.975,28.93,2.41), (22.01,2.41,28.21,2.54), (22.01,2.54,27.105,3.12), (22.01,3.12,25.295,3.405), (-4.77,3.175,-1.34,3.185), (-4.77,3.185,19.28,3.405), (-4.77,3.405,25.295,4.175), (-4.77,4.175,23.73,5.025), (-4.77,5.025,22.515,5.04), (-4.77,5.04,19.28,5.2), (-4.77,5.2,-1.34,11.24), (-9.095,11.24,-1.34,13.075)])
R(mux8, nsdm, [(2.945,-4.42,3.305,-3.985), (7.685,-4.42,7.985,-3.985), (12.365,-4.415,12.64,-3.985), (17.02,-4.415,17.275,-3.98), (2.94,-3.985,3.305,-3.9), (7.68,-3.985,7.985,-3.9), (12.36,-3.985,12.64,-3.9), (17.015,-3.98,17.275,-3.9), (2.94,12.32,3.305,12.405), (7.68,12.32,7.985,12.405), (12.36,12.32,12.64,12.405), (17.015,12.32,17.275,12.405), (2.945,12.405,3.305,12.84), (7.685,12.405,7.985,12.84), (12.365,12.405,12.64,12.84), (17.02,12.405,17.275,12.84)])
R(mux8, psdm, [(2.945,-3.88,3.305,-2.02), (7.685,-3.88,7.985,-2.02), (12.365,-3.875,12.64,-2.02), (17.02,-3.875,17.275,-2.02), (2.945,10.44,3.305,12.3), (7.685,10.44,7.985,12.3), (12.365,10.44,12.64,12.3), (17.02,10.44,17.275,12.3)])
mux8.add(gdstk.Reference(nand4f, (3.2,10.085)))
mux8.add(gdstk.Reference(nand4f, (-1.54,10.085)))
mux8.add(gdstk.Reference(nand4f, (-1.54,-1.665), x_reflection=True))
mux8.add(gdstk.Reference(nand4f, (3.2,-1.665), x_reflection=True))
mux8.add(gdstk.Reference(nand4f, (12.535,10.085)))
mux8.add(gdstk.Reference(nand4f, (7.88,-1.665), x_reflection=True))
mux8.add(gdstk.Reference(nand4f, (7.88,10.085)))
mux8.add(gdstk.Reference(nand4f, (12.535,-1.66), x_reflection=True))
mux8.add(gdstk.Reference(nand4f, (17.17,10.085)))
mux8.add(gdstk.Reference(nand4f, (17.17,-1.665), x_reflection=True))
mux8.add(gdstk.Reference(inv, (27.115,3.695)))
mux8.add(gdstk.Reference(nor2, (21.685,4.33)))
mux8.add(gdstk.Reference(inv, (-7.01,13.785)))
mux8.add(gdstk.Reference(inv, (-4.81,13.785)))
mux8.add(gdstk.Reference(inv, (-9.21,13.785)))
mux8.add(gdstk.Label('A0', (-8.17,8.5), layer=69, texttype=16))
mux8.add(gdstk.Label('A1', (-8.155,8.025), layer=69, texttype=16))
mux8.add(gdstk.Label('A2', (-8.14,7.495), layer=69, texttype=16))
mux8.add(gdstk.Label('A3', (-8.165,6.965), layer=69, texttype=16))
mux8.add(gdstk.Label('A4', (-8.15,1.475), layer=69, texttype=16))
mux8.add(gdstk.Label('A5', (-8.14,0.855), layer=69, texttype=16))
mux8.add(gdstk.Label('A6', (-8.155,0.375), layer=69, texttype=16))
mux8.add(gdstk.Label('A7', (-8.175,-0.23), layer=69, texttype=16))
mux8.add(gdstk.Label('VSS', (27.905,0.26), layer=72, texttype=16))
mux8.add(gdstk.Label('VDD', (25.015,11.695), layer=68, texttype=16))
mux8.add(gdstk.Label('Y', (28.925,3.495), layer=68, texttype=16))
mux8.add(gdstk.Label('SEL0', (-4.647,16.582), layer=69, texttype=16))
mux8.add(gdstk.Label('SEL1', (-6.852,16.537), layer=69, texttype=16))
mux8.add(gdstk.Label('SEL2', (-9.042,16.537), layer=69, texttype=16))

lib.write_gds('mux8.gds')
